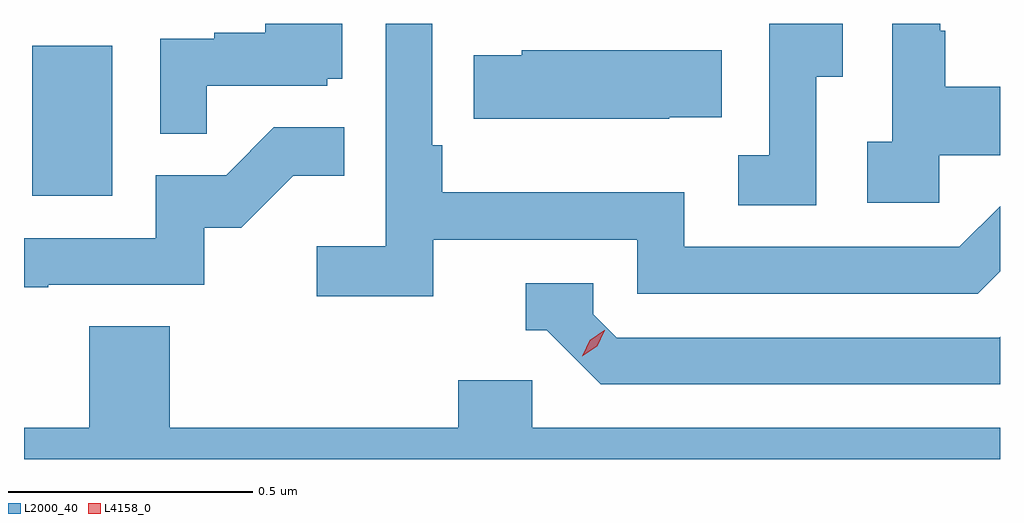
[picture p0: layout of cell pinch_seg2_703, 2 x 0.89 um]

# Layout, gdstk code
import gdstk
lib = gdstk.Library(unit=1e-6, precision=1e-09)
def R(c, l, rs):  # rectangles x0, y0, x1, y1
    for r in rs: c.add(gdstk.rectangle(r[:2], r[2:], *l))
def P(c, l, *ps):  # polygons
    for p in ps: c.add(gdstk.Polygon(p, *l))
L2000_40 = (2000, 40)
L4158_0 = (4158, 0)

pinch_seg2_703 = lib.new_cell('pinch_seg2_703')
R(pinch_seg2_703, L2000_40, [(1107.71,584.34,1107.874,584.647)])
P(pinch_seg2_703, L2000_40, [(1108.532,584.25),(1108.95,584.25),(1108.95,584.139),(1109.647,584.139),(1109.693,584.185),(1109.693,584.318),(1109.61,584.235),(1109.046,584.235),(1109.046,584.347),(1108.55,584.347),(1108.55,584.443),(1108.53,584.443),(1108.53,584.692),(1108.434,584.692),(1108.434,584.236),(1108.293,584.236),(1108.293,584.134),(1108.532,584.134)],
  [(1109.316,584.584),(1109.371,584.584),(1109.371,584.692),(1109.22,584.692),(1109.22,584.423),(1109.157,584.423),(1109.157,584.32),(1109.316,584.32)],
  [(1109.568,584.423),(1109.693,584.423),(1109.693,584.563),(1109.581,584.563),(1109.581,584.678),(1109.571,584.678),(1109.571,584.692),(1109.472,584.692),(1109.472,584.45),(1109.421,584.45),(1109.421,584.325),(1109.568,584.325)],
  [(1108.067,584.565),(1108.314,584.565),(1108.314,584.58),(1108.345,584.58),(1108.345,584.692),(1108.187,584.692),(1108.187,584.674),(1108.083,584.674),(1108.083,584.661),(1107.972,584.661),(1107.972,584.467),(1108.067,584.467)],
  [(1109.015,584.501),(1109.123,584.501),(1109.123,584.638),(1108.713,584.638),(1108.713,584.628),(1108.615,584.628),(1108.615,584.498),(1109.015,584.498)],
  [(1107.743,584.157),(1108.062,584.157),(1108.062,584.274),(1108.138,584.274),(1108.245,584.381),(1108.349,584.381),(1108.349,584.48),(1108.205,584.48),(1108.107,584.382),(1107.963,584.382),(1107.963,584.253),(1107.693,584.253),(1107.693,584.152),(1107.743,584.152)],
  [(1109.693,584.051),(1109.691,584.049),(1108.908,584.049),(1108.86,584.097),(1108.86,584.16),(1108.721,584.16),(1108.721,584.064),(1108.764,584.064),(1108.875,583.953),(1109.693,583.953)],
  [(1109.693,583.864),(1108.734,583.864),(1108.734,583.962),(1108.583,583.962),(1108.583,583.864),(1107.992,583.864),(1107.992,584.072),(1107.827,584.072),(1107.827,583.864),(1107.693,583.864),(1107.693,583.8),(1109.693,583.8)])
P(pinch_seg2_703, L4158_0, [(1108.837,584.011),(1108.837,584.011),(1108.852,584.044),(1108.882,584.064),(1108.883,584.064),(1108.883,584.064),(1108.868,584.031),(1108.837,584.011)])

lib.write_gds('pinch_seg2_703.gds')
